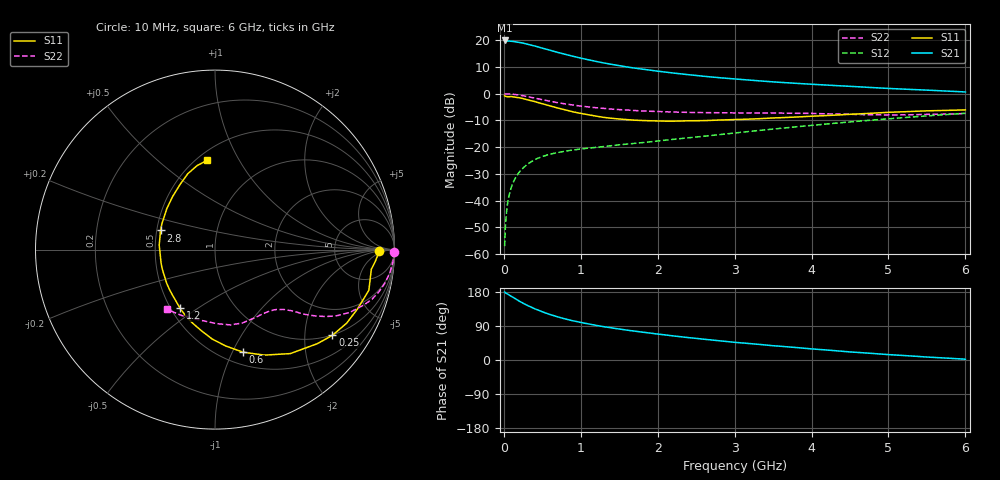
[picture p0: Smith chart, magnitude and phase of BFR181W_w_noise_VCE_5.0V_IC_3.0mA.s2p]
! Infineon Technologies  Discrete & RF Semiconductors
! BFR181W
! VCE =  5.0 V,  IC =  3.0 mA
! Common Emitter S-Parameters:  Jan 2017
# GHz  S  MA  R  50
!  f  S11  S21  S12  S22
! GHz  MAG  ANG  MAG  ANG  MAG  ANG  MAG  ANG
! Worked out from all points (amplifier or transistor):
!   77 points, 10 MHz to 6 GHz, reference 50 ohm
!   highest |S21| = 19.9 dB at 10 MHz (marker M1)
!   |S21| within 3 dB of that: start of sweep to 516.3 MHz
!   unconditionally stable (mu >= 1): 1.632 GHz to 3.701 GHz
!   at 130 MHz: K = 0.11, MSG = 26.1 dB, |S12| = -32.7 dB
!   at 2.2 GHz: K = 1.09, MAG = 10.6 dB, |S12| = -17.1 dB
!   at 6 GHz: K = 0.84, MSG = 4.0 dB, |S12| = -7.3 dB
!   lowest NFmin = 0.87 dB at 450 MHz
!   S11 on the Smith chart (normalised r, x): 10 MHz: 22, -3; 250 MHz: 0.99, -2.75; 600 MHz: 0.62, -1.10; 1.2 GHz: 0.56, -0.43; 2.8 GHz: 0.52, +0.12; 6 GHz: 0.56, +0.74
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0.01  0.9151 -0.6  9.941 179.6  0.0014 97.7  1 -0.8
0.03  0.8892 -5.2  9.793 176.2  0.0051 88.9  0.9917 -2.1
0.07  0.8795 -10.2  9.673 171.4  0.0127 83.8  0.989 -5.3
0.15  0.8599 -22.6  9.401 161.7  0.0264 77.6  0.9656 -11.1
0.2  0.8407 -29.1  9.122 155.4  0.034 74.4  0.9425 -14.5
0.25  0.8102 -36.1  8.867 149.9  0.0408 70.3  0.9175 -17.5
0.3  0.7745 -42.6  8.518 144.6  0.047 67.4  0.8876 -20.2
0.4  0.7154 -54.1  7.852 135.2  0.0583 61.6  0.8294 -24.9
0.5  0.6493 -64.9  7.144 127.2  0.0669 57.5  0.774 -28.4
0.6  0.5926 -74.7  6.518 120.1  0.0738 54.7  0.7243 -31.0
0.7  0.5405 -83.6  5.942 113.8  0.0791 52.9  0.6804 -33.0
0.8  0.4986 -91.8  5.461 108.3  0.0843 51.8  0.6443 -34.6
0.9  0.458 -99.6  5.019 103.4  0.0884 50.2  0.6137 -35.9
1.1  0.4034 -114.0  4.319 95.2  0.0959 50.0  0.566 -37.7
1.2  0.3807 -120.7  4.027 91.4  0.0991 49.6  0.5464 -38.6
1.6  0.3279 -145.3  3.174 78.8  0.114 51.3  0.4961 -42.3
2.1  0.307 -171.1  2.542 66.1  0.135 54.3  0.4593 -48.2
2.8  0.3219 160.6  1.997 50.8  0.1713 56.9  0.441 -58.8
3.1  0.3315 151.4  1.844 45.0  0.1906 57.2  0.4368 -63.3
4.1  0.3848 126.1  1.478 27.8  0.2634 55.1  0.4242 -80.4
5.1  0.4544 108.1  1.238 13.0  0.3483 48.9  0.4015 -104.8
6  0.4986 95.2  1.08 2.1  0.4304 41.0  0.4267 -128.7
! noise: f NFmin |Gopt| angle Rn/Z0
0.45  0.87  0.47  17  0.27
0.9  0.93  0.42  32  0.26
1.9  1.34  0.24  80  0.21
2.4  1.55  0.21  94  0.23
